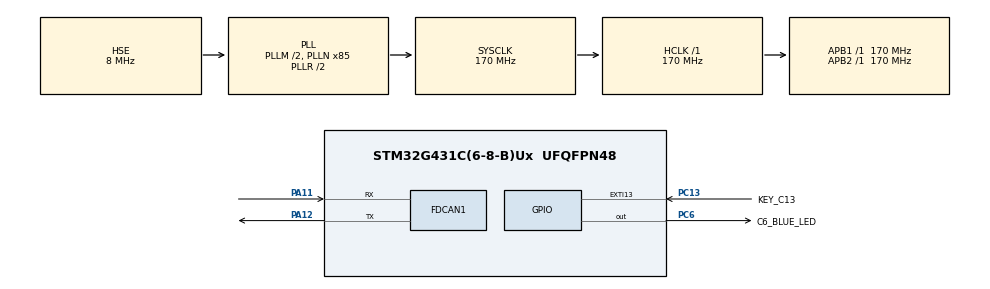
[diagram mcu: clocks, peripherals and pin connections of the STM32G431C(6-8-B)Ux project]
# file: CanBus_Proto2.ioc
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FDCAN1.AutoRetransmission=ENABLE
FDCAN1.CalculateBaudRateNominal=500000
FDCAN1.CalculateTimeBitNominal=2000
FDCAN1.CalculateTimeQuantumNominal=100.0
FDCAN1.Mode=FDCAN_MODE_NORMAL
FDCAN1.NominalPrescaler=17
FDCAN1.NominalTimeSeg1=15
FDCAN1.NominalTimeSeg2=4
Mcu.Family=STM32G4
Mcu.Name=STM32G431C(6-8-B)Ux
Mcu.Package=UFQFPN48
NVIC.EXTI15_10_IRQn=true\:1\:0\:true\:false\:true\:true\:true\:true
NVIC.FDCAN1_IT0_IRQn=true\:0\:0\:false\:false\:true\:true\:true\:true
NVIC.FDCAN1_IT1_IRQn=true\:0\:0\:false\:false\:true\:true\:true\:true
NVIC.PriorityGroup=NVIC_PRIORITYGROUP_4
PA11.GPIO_Speed=GPIO_SPEED_FREQ_VERY_HIGH
PA11.Mode=FDCAN_Activate
PA11.Signal=FDCAN1_RX
PA12.GPIO_Speed=GPIO_SPEED_FREQ_VERY_HIGH
PA12.Mode=FDCAN_Activate
PA12.Signal=FDCAN1_TX
PA13.Mode=Serial_Wire
PA13.Signal=SYS_JTMS-SWDIO
PA14.Mode=Serial_Wire
PA14.Signal=SYS_JTCK-SWCLK
PC13.GPIO_Label=KEY_C13
PC13.GPIO_ModeDefaultEXTI=GPIO_MODE_IT_RISING_FALLING
PC13.GPIO_PuPd=GPIO_PULLDOWN
PC13.Signal=GPXTI13
PC14-OSC32_IN.Mode=LSE-External-Oscillator
PC14-OSC32_IN.Signal=RCC_OSC32_IN
PC15-OSC32_OUT.Mode=LSE-External-Oscillator
PC15-OSC32_OUT.Signal=RCC_OSC32_OUT
PC6.GPIO_Label=C6_BLUE_LED
PC6.Signal=GPIO_Output
PF0-OSC_IN.Mode=HSE-External-Oscillator
PF0-OSC_IN.Signal=RCC_OSC_IN
PF1-OSC_OUT.Mode=HSE-External-Oscillator
PF1-OSC_OUT.Signal=RCC_OSC_OUT
ProjectManager.HeapSize=0x200
ProjectManager.StackSize=0x400
ProjectManager.TargetToolchain=CMake
RCC.ADC12Freq_Value=170000000
RCC.AHBFreq_Value=170000000
RCC.APB1Freq_Value=170000000
RCC.APB1TimFreq_Value=170000000
RCC.APB2Freq_Value=170000000
RCC.APB2TimFreq_Value=170000000
RCC.CortexFreq_Value=170000000
RCC.EXTERNAL_CLOCK_VALUE=12288000
RCC.FDCANCLockSelection=RCC_FDCANCLKSOURCE_PLL
RCC.HCLKFreq_Value=170000000
RCC.HSE_VALUE=8000000
RCC.HSI48_VALUE=48000000
RCC.HSI_VALUE=16000000
RCC.PLLM=RCC_PLLM_DIV2
RCC.PLLN=85
RCC.PLLSourceVirtual=RCC_PLLSOURCE_HSE
RCC.SYSCLKFreq_VALUE=170000000
RCC.SYSCLKSource=RCC_SYSCLKSOURCE_PLLCLK
RCC.USBFreq_Value=170000000
RCC.VCOOutputFreq_Value=340000000
VP_SYS_VS_DBSignals.Mode=DisableDeadBatterySignals
board=custom

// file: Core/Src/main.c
/* USER CODE BEGIN Header */
/**
  ******************************************************************************
  * @file           : main.c
  * @brief          : Main program body
  ******************************************************************************
  * @attention
  *
  * Copyright (c) 2025 STMicroelectronics.
  * All rights reserved.
  *
  * This software is licensed under terms that can be found in the LICENSE file
  * in the root directory of this software component.
  * If no LICENSE file comes with this software, it is provided AS-IS.
  *
  ******************************************************************************
  */
/* USER CODE END Header */
#include "main.h"

FDCAN_HandleTypeDef hfdcan1;

/* USER CODE BEGIN PV */

int mcuId = 1;
FDCAN_TxHeaderTypeDef TxHeader;
uint8_t TxData[8] = {0};
FDCAN_RxHeaderTypeDef RxHeader;
uint8_t RxData[8];  // Must be 8 bytes to handle max CAN message size
/* USER CODE END PV */

void SystemClock_Config(void);
static void MX_GPIO_Init(void);
static void MX_FDCAN1_Init(void);

/* USER CODE BEGIN 0 */

static inline void delay_ms(uint32_t ms)
{
  volatile uint32_t i;
  while (ms--) {
    for (i = 0; i < 42500; i++) __NOP();  // ~1ms @ 170MHz
  }
}

/* USER CODE END 0 */

int main(void)
{

  /* MCU Configuration--------------------------------------------------------*/

  /* Reset of all peripherals, Initializes the Flash interface and the Systick. */
  HAL_Init();

  /* Configure the system clock */
  SystemClock_Config();

  /* Initialize all configured peripherals */
  MX_GPIO_Init();
  MX_FDCAN1_Init();
  /* USER CODE BEGIN 2 */

  // Configure CAN RX filter to accept all messages
  FDCAN_FilterTypeDef sFilterConfig;
  sFilterConfig.IdType = FDCAN_STANDARD_ID;
  sFilterConfig.FilterIndex = 0;
  sFilterConfig.FilterType = FDCAN_FILTER_RANGE;
  sFilterConfig.FilterConfig = FDCAN_FILTER_TO_RXFIFO0;
  sFilterConfig.FilterID1 = 0x000;
  sFilterConfig.FilterID2 = 0x7FF;  // Accept all standard IDs
  if (HAL_FDCAN_ConfigFilter(&hfdcan1, &sFilterConfig) != HAL_OK)
  {
    Error_Handler();
  }

  // Start FDCAN peripheral
  if (HAL_FDCAN_Start(&hfdcan1) != HAL_OK)
  {
    Error_Handler();
  }

  // Enable RX FIFO 0 new message notification
  if (HAL_FDCAN_ActivateNotification(&hfdcan1, FDCAN_IT_RX_FIFO0_NEW_MESSAGE, 0) != HAL_OK)
  {
    Error_Handler();
  }

  /* Configure the canbus Data and Header */
  TxData[0] = (uint8_t)mcuId; // First byte is the mcuId
  TxHeader.Identifier = 0x100 + mcuId; // Unique ID per MCU
  TxHeader.IdType = FDCAN_STANDARD_ID;
  TxHeader.TxFrameType = FDCAN_DATA_FRAME;
  TxHeader.DataLength = FDCAN_DLC_BYTES_1;
  TxHeader.ErrorStateIndicator = FDCAN_ESI_PASSIVE;
  TxHeader.BitRateSwitch = FDCAN_BRS_OFF; // Keep it simple for testing
  TxHeader.FDFormat = FDCAN_CLASSIC_CAN;   // Multimeter test works best with classic
  TxHeader.TxEventFifoControl = FDCAN_NO_TX_EVENTS;
  TxHeader.MessageMarker = 0;

  // Blink 5 times rapidly to indicate startup
  for (int i = 0; i < 10; i++)
  {
    HAL_GPIO_TogglePin(C6_BLUE_LED_GPIO_Port, C6_BLUE_LED_Pin);
    HAL_Delay(50);
  }
  HAL_GPIO_WritePin(C6_BLUE_LED_GPIO_Port, C6_BLUE_LED_Pin, GPIO_PIN_RESET);

  /* USER CODE END 2 */

  /* Infinite loop */
  while (1)
  {

  }
}

void SystemClock_Config(void)
{
  RCC_OscInitTypeDef RCC_OscInitStruct = {0};
  RCC_ClkInitTypeDef RCC_ClkInitStruct = {0};

  /** Configure the main internal regulator output voltage
  */
  HAL_PWREx_ControlVoltageScaling(PWR_REGULATOR_VOLTAGE_SCALE1_BOOST);

  /** Initializes the RCC Oscillators according to the specified parameters
  * in the RCC_OscInitTypeDef structure.
  */
  RCC_OscInitStruct.OscillatorType = RCC_OSCILLATORTYPE_HSE;
  RCC_OscInitStruct.HSEState = RCC_HSE_ON;
  RCC_OscInitStruct.PLL.PLLState = RCC_PLL_ON;
  RCC_OscInitStruct.PLL.PLLSource = RCC_PLLSOURCE_HSE;
  RCC_OscInitStruct.PLL.PLLM = RCC_PLLM_DIV2;
  RCC_OscInitStruct.PLL.PLLN = 85;
  RCC_OscInitStruct.PLL.PLLP = RCC_PLLP_DIV2;
  RCC_OscInitStruct.PLL.PLLQ = RCC_PLLQ_DIV2;
  RCC_OscInitStruct.PLL.PLLR = RCC_PLLR_DIV2;
  if (HAL_RCC_OscConfig(&RCC_OscInitStruct) != HAL_OK)
  {
    Error_Handler();
  }

  /** Initializes the CPU, AHB and APB buses clocks
  */
  RCC_ClkInitStruct.ClockType = RCC_CLOCKTYPE_HCLK|RCC_CLOCKTYPE_SYSCLK
                              |RCC_CLOCKTYPE_PCLK1|RCC_CLOCKTYPE_PCLK2;
  RCC_ClkInitStruct.SYSCLKSource = RCC_SYSCLKSOURCE_PLLCLK;
  RCC_ClkInitStruct.AHBCLKDivider = RCC_SYSCLK_DIV1;
  RCC_ClkInitStruct.APB1CLKDivider = RCC_HCLK_DIV1;
  RCC_ClkInitStruct.APB2CLKDivider = RCC_HCLK_DIV1;

  if (HAL_RCC_ClockConfig(&RCC_ClkInitStruct, FLASH_LATENCY_4) != HAL_OK)
  {
    Error_Handler();
  }
}

static void MX_FDCAN1_Init(void)
{

  hfdcan1.Instance = FDCAN1;
  hfdcan1.Init.ClockDivider = FDCAN_CLOCK_DIV1;
  hfdcan1.Init.FrameFormat = FDCAN_FRAME_CLASSIC;
  hfdcan1.Init.Mode = FDCAN_MODE_NORMAL;
  hfdcan1.Init.AutoRetransmission = ENABLE;
  hfdcan1.Init.TransmitPause = DISABLE;
  hfdcan1.Init.ProtocolException = DISABLE;
  hfdcan1.Init.NominalPrescaler = 17;
  hfdcan1.Init.NominalSyncJumpWidth = 1;
  hfdcan1.Init.NominalTimeSeg1 = 15;
  hfdcan1.Init.NominalTimeSeg2 = 4;
  hfdcan1.Init.DataPrescaler = 1;
  hfdcan1.Init.DataSyncJumpWidth = 1;
  hfdcan1.Init.DataTimeSeg1 = 1;
  hfdcan1.Init.DataTimeSeg2 = 1;
  hfdcan1.Init.StdFiltersNbr = 0;
  hfdcan1.Init.ExtFiltersNbr = 0;
  hfdcan1.Init.TxFifoQueueMode = FDCAN_TX_FIFO_OPERATION;
  if (HAL_FDCAN_Init(&hfdcan1) != HAL_OK)
  {
    Error_Handler();
  }

}

static void MX_GPIO_Init(void)
{
  GPIO_InitTypeDef GPIO_InitStruct = {0};

  /* GPIO Ports Clock Enable */
  __HAL_RCC_GPIOC_CLK_ENABLE();
  __HAL_RCC_GPIOF_CLK_ENABLE();
  __HAL_RCC_GPIOA_CLK_ENABLE();

  /*Configure GPIO pin Output Level */
  HAL_GPIO_WritePin(C6_BLUE_LED_GPIO_Port, C6_BLUE_LED_Pin, GPIO_PIN_RESET);

  /*Configure GPIO pin : KEY_C13_Pin */
  GPIO_InitStruct.Pin = KEY_C13_Pin;
  GPIO_InitStruct.Mode = GPIO_MODE_IT_RISING_FALLING;
  GPIO_InitStruct.Pull = GPIO_PULLDOWN;
  HAL_GPIO_Init(KEY_C13_GPIO_Port, &GPIO_InitStruct);

  /*Configure GPIO pin : C6_BLUE_LED_Pin */
  GPIO_InitStruct.Pin = C6_BLUE_LED_Pin;
  GPIO_InitStruct.Mode = GPIO_MODE_OUTPUT_PP;
  GPIO_InitStruct.Pull = GPIO_NOPULL;
  GPIO_InitStruct.Speed = GPIO_SPEED_FREQ_LOW;
  HAL_GPIO_Init(C6_BLUE_LED_GPIO_Port, &GPIO_InitStruct);

  /* EXTI interrupt init*/
  HAL_NVIC_SetPriority(EXTI15_10_IRQn, 1, 0);
  HAL_NVIC_EnableIRQ(EXTI15_10_IRQn);

}

/* USER CODE BEGIN 4 */

void HAL_FDCAN_RxFifo0Callback(FDCAN_HandleTypeDef *hfdcan, uint32_t RxFifo0ITs)
{
  if ((RxFifo0ITs & FDCAN_IT_RX_FIFO0_NEW_MESSAGE) != 0)
  {
    // Get RX message
    if (HAL_FDCAN_GetRxMessage(hfdcan, FDCAN_RX_FIFO0, &RxHeader, RxData) == HAL_OK)
    {
      // Blink LED based on received data (number of blinks = received value)
      uint8_t blinkCount = RxData[0];  // First byte = number of blinks
      if (blinkCount > 0 && blinkCount <= 10)  // Limit to max 10 blinks
      {
        for (int i = 0; i < blinkCount; i++)
        {
          HAL_GPIO_WritePin(C6_BLUE_LED_GPIO_Port, C6_BLUE_LED_Pin, GPIO_PIN_SET);
          delay_ms(200);
          HAL_GPIO_WritePin(C6_BLUE_LED_GPIO_Port, C6_BLUE_LED_Pin, GPIO_PIN_RESET);
          delay_ms(200);
        }
      }
    }
  }
}

void HAL_GPIO_EXTI_Callback(uint16_t GPIO_Pin)
{
  if (GPIO_Pin == KEY_C13_Pin)
  {
    int buttonState = HAL_GPIO_ReadPin(KEY_C13_GPIO_Port, KEY_C13_Pin);
    if (buttonState == GPIO_PIN_SET)
    {
      // Button pressed (falling edge - pulled low), Turn on LED to indicate message send
      HAL_GPIO_WritePin(C6_BLUE_LED_GPIO_Port, C6_BLUE_LED_Pin, GPIO_PIN_SET);
      // Send the mcuId as a canbus message. If FIFO is full, we wait until there is space
      while (HAL_FDCAN_GetTxFifoFreeLevel(&hfdcan1) == 0) {
          // Busy wait until a mailbox is free
      }
      HAL_FDCAN_AddMessageToTxFifoQ(&hfdcan1, &TxHeader, TxData);
    }
    else
    {
      // Button released (rising edge - pulled high) - Turn off LED
      HAL_GPIO_WritePin(C6_BLUE_LED_GPIO_Port, C6_BLUE_LED_Pin, GPIO_PIN_RESET);
    }
  }
}

/* USER CODE END 4 */

void Error_Handler(void)
{
  /* USER CODE BEGIN Error_Handler_Debug */
  /* User can add his own implementation to report the HAL error return state */
  // __disable_irq();
  while (1)
  {
    HAL_GPIO_WritePin(C6_BLUE_LED_GPIO_Port, C6_BLUE_LED_Pin, GPIO_PIN_SET);
    delay_ms(950);
    HAL_GPIO_WritePin(C6_BLUE_LED_GPIO_Port, C6_BLUE_LED_Pin, GPIO_PIN_RESET);
    delay_ms(50);
  }
  /* USER CODE END Error_Handler_Debug */
}
